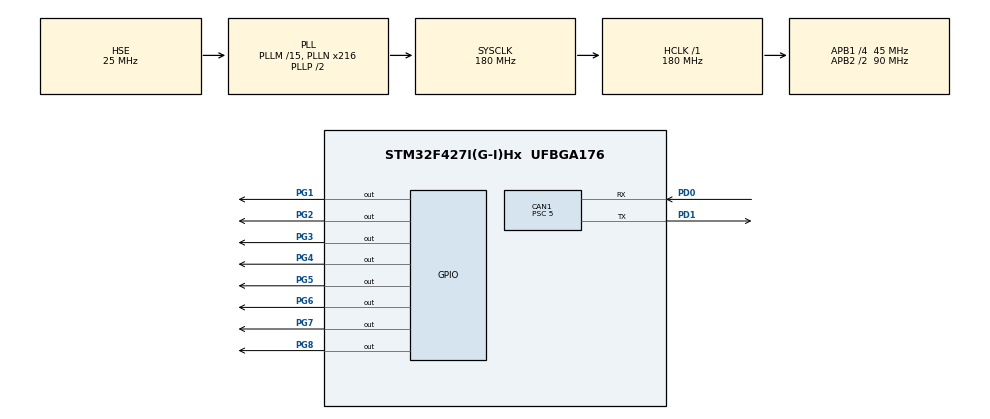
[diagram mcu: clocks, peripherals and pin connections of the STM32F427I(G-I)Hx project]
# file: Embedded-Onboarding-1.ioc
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CAN1.ABOM=ENABLE
CAN1.AWUM=ENABLE
CAN1.BS1=CAN_BS1_6TQ
CAN1.BS2=CAN_BS2_2TQ
CAN1.CalculateBaudRate=1000000
CAN1.CalculateTimeBit=1000
CAN1.CalculateTimeQuantum=111.11111111111111
CAN1.NART=ENABLE
CAN1.Prescaler=5
Mcu.Family=STM32F4
Mcu.Name=STM32F427I(G-I)Hx
Mcu.Package=UFBGA176
NVIC.CAN1_RX0_IRQn=true\:0\:0\:false\:false\:true\:true\:true\:true
NVIC.PriorityGroup=NVIC_PRIORITYGROUP_4
PD0.GPIO_PuPd=GPIO_PULLUP
PD0.Mode=CAN_Activate
PD0.Signal=CAN1_RX
PD1.Mode=CAN_Activate
PD1.Signal=CAN1_TX
PG1.Signal=GPIO_Output
PG2.Signal=GPIO_Output
PG3.Signal=GPIO_Output
PG4.Signal=GPIO_Output
PG5.Signal=GPIO_Output
PG6.Signal=GPIO_Output
PG7.Signal=GPIO_Output
PG8.Signal=GPIO_Output
PH0/OSC_IN.Mode=HSE-External-Oscillator
PH0/OSC_IN.Signal=RCC_OSC_IN
PH1/OSC_OUT.Mode=HSE-External-Oscillator
PH1/OSC_OUT.Signal=RCC_OSC_OUT
ProjectManager.HeapSize=0x200
ProjectManager.StackSize=0x400
ProjectManager.TargetToolchain=CMake
RCC.48MHZClocksFreq_Value=90000000
RCC.AHBFreq_Value=180000000
RCC.APB1CLKDivider=RCC_HCLK_DIV4
RCC.APB1Freq_Value=45000000
RCC.APB1TimFreq_Value=90000000
RCC.APB2CLKDivider=RCC_HCLK_DIV2
RCC.APB2Freq_Value=90000000
RCC.APB2TimFreq_Value=180000000
RCC.CortexFreq_Value=180000000
RCC.EnbaleCSS=true
RCC.HCLKFreq_Value=180000000
RCC.HSE_VALUE=25000000
RCC.HSI_VALUE=16000000
RCC.LSE_VALUE=32768
RCC.PLLM=15
RCC.PLLN=216
RCC.PLLSourceVirtual=RCC_PLLSOURCE_HSE
RCC.SYSCLKFreq_VALUE=180000000
RCC.SYSCLKSource=RCC_SYSCLKSOURCE_PLLCLK
RCC.VCOOutputFreq_Value=360000000
board=custom

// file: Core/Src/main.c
/* USER CODE BEGIN Header */
/**
  ******************************************************************************
  * @file           : main.c
  * @brief          : Main program body
  ******************************************************************************
  * @attention
  *
  * Copyright (c) 2025 STMicroelectronics.
  * All rights reserved.
  *
  * This software is licensed under terms that can be found in the LICENSE file
  * in the root directory of this software component.
  * If no LICENSE file comes with this software, it is provided AS-IS.
  *
  ******************************************************************************
  */
/* USER CODE END Header */
#include "main.h"

/* USER CODE BEGIN Includes */
#include "stdint.h"
/* USER CODE END Includes */

CAN_HandleTypeDef hcan1;

void SystemClock_Config(void);
static void MX_GPIO_Init(void);
static void MX_CAN1_Init(void);

/* USER CODE BEGIN 0 */
void display_byte(uint8_t byte) {
  uint16_t pin_numbers[] = {
    GPIO_PIN_1,
    GPIO_PIN_2,
    GPIO_PIN_3,
    GPIO_PIN_4,
    GPIO_PIN_5,
    GPIO_PIN_6,
    GPIO_PIN_7,
    GPIO_PIN_8
  };

  for (int i = 0; i < 8; i++) {
    if ((byte & (1 << i)) != 0) {
      HAL_GPIO_WritePin(GPIOG, pin_numbers[i], GPIO_PIN_RESET);
    } else {
      HAL_GPIO_WritePin(GPIOG, pin_numbers[i], GPIO_PIN_SET);
    }
  }
}
/* USER CODE END 0 */

int main(void)
{

  /* MCU Configuration--------------------------------------------------------*/

  /* Reset of all peripherals, Initializes the Flash interface and the Systick. */
  HAL_Init();

  /* Configure the system clock */
  SystemClock_Config();

  /* Initialize all configured peripherals */
  MX_GPIO_Init();
  MX_CAN1_Init();
  /* USER CODE BEGIN 2 */
  CAN_FilterTypeDef CAN_FilterConfigStructure;
  CAN_FilterConfigStructure.FilterIdHigh = 0x0000;
  CAN_FilterConfigStructure.FilterIdLow = 0x0000;
  CAN_FilterConfigStructure.FilterMaskIdHigh = 0x0000;
  CAN_FilterConfigStructure.FilterMaskIdLow = 0x0000;
  CAN_FilterConfigStructure.FilterFIFOAssignment = CAN_FILTER_FIFO0;
  CAN_FilterConfigStructure.FilterMode = CAN_FILTERMODE_IDMASK;
  CAN_FilterConfigStructure.FilterScale = CAN_FILTERSCALE_16BIT;
  CAN_FilterConfigStructure.FilterActivation = ENABLE;
  CAN_FilterConfigStructure.FilterBank = 0;

  HAL_CAN_ConfigFilter(&hcan1, &CAN_FilterConfigStructure);

  HAL_CAN_ActivateNotification(&hcan1, CAN_IT_RX_FIFO0_MSG_PENDING);

  HAL_CAN_Start(&hcan1);

  CAN_RxHeaderTypeDef header;
  header.IDE = CAN_ID_STD;
  header.RTR = CAN_RTR_DATA;
  header.DLC = 8;
  header.StdId = 100;

  uint8_t can_data[8] = { 0 };
  can_data[0] = 27;
  /* user code end 2 */

  /* Infinite loop */
  while (1)
  {
    /* USER CODE BEGIN 3 */
    HAL_CAN_AddTxMessage(&hcan1, &header, can_data, NULL);
    HAL_Delay(600);
  }
  /* USER CODE END 3 */
}

void SystemClock_Config(void)
{
  RCC_OscInitTypeDef RCC_OscInitStruct = {0};
  RCC_ClkInitTypeDef RCC_ClkInitStruct = {0};

  /** Configure the main internal regulator output voltage
  */
  __HAL_RCC_PWR_CLK_ENABLE();
  __HAL_PWR_VOLTAGESCALING_CONFIG(PWR_REGULATOR_VOLTAGE_SCALE1);

  /** Initializes the RCC Oscillators according to the specified parameters
  * in the RCC_OscInitTypeDef structure.
  */
  RCC_OscInitStruct.OscillatorType = RCC_OSCILLATORTYPE_HSE;
  RCC_OscInitStruct.HSEState = RCC_HSE_ON;
  RCC_OscInitStruct.PLL.PLLState = RCC_PLL_ON;
  RCC_OscInitStruct.PLL.PLLSource = RCC_PLLSOURCE_HSE;
  RCC_OscInitStruct.PLL.PLLM = 15;
  RCC_OscInitStruct.PLL.PLLN = 216;
  RCC_OscInitStruct.PLL.PLLP = RCC_PLLP_DIV2;
  RCC_OscInitStruct.PLL.PLLQ = 4;
  if (HAL_RCC_OscConfig(&RCC_OscInitStruct) != HAL_OK)
  {
    Error_Handler();
  }

  /** Activate the Over-Drive mode
  */
  if (HAL_PWREx_EnableOverDrive() != HAL_OK)
  {
    Error_Handler();
  }

  /** Initializes the CPU, AHB and APB buses clocks
  */
  RCC_ClkInitStruct.ClockType = RCC_CLOCKTYPE_HCLK|RCC_CLOCKTYPE_SYSCLK
                              |RCC_CLOCKTYPE_PCLK1|RCC_CLOCKTYPE_PCLK2;
  RCC_ClkInitStruct.SYSCLKSource = RCC_SYSCLKSOURCE_PLLCLK;
  RCC_ClkInitStruct.AHBCLKDivider = RCC_SYSCLK_DIV1;
  RCC_ClkInitStruct.APB1CLKDivider = RCC_HCLK_DIV4;
  RCC_ClkInitStruct.APB2CLKDivider = RCC_HCLK_DIV2;

  if (HAL_RCC_ClockConfig(&RCC_ClkInitStruct, FLASH_LATENCY_5) != HAL_OK)
  {
    Error_Handler();
  }

  /** Enables the Clock Security System
  */
  HAL_RCC_EnableCSS();
}

static void MX_CAN1_Init(void)
{

  hcan1.Instance = CAN1;
  hcan1.Init.Prescaler = 5;
  hcan1.Init.Mode = CAN_MODE_NORMAL;
  hcan1.Init.SyncJumpWidth = CAN_SJW_1TQ;
  hcan1.Init.TimeSeg1 = CAN_BS1_6TQ;
  hcan1.Init.TimeSeg2 = CAN_BS2_2TQ;
  hcan1.Init.TimeTriggeredMode = DISABLE;
  hcan1.Init.AutoBusOff = ENABLE;
  hcan1.Init.AutoWakeUp = ENABLE;
  hcan1.Init.AutoRetransmission = ENABLE;
  hcan1.Init.ReceiveFifoLocked = DISABLE;
  hcan1.Init.TransmitFifoPriority = DISABLE;
  if (HAL_CAN_Init(&hcan1) != HAL_OK)
  {
    Error_Handler();
  }

}

static void MX_GPIO_Init(void)
{
  GPIO_InitTypeDef GPIO_InitStruct = {0};

  /* GPIO Ports Clock Enable */
  __HAL_RCC_GPIOD_CLK_ENABLE();
  __HAL_RCC_GPIOH_CLK_ENABLE();
  __HAL_RCC_GPIOG_CLK_ENABLE();

  /*Configure GPIO pin Output Level */
  HAL_GPIO_WritePin(GPIOG, GPIO_PIN_8|GPIO_PIN_7|GPIO_PIN_6|GPIO_PIN_5
                          |GPIO_PIN_4|GPIO_PIN_3|GPIO_PIN_2|GPIO_PIN_1, GPIO_PIN_RESET);

  /*Configure GPIO pins : PG8 PG7 PG6 PG5
                           PG4 PG3 PG2 PG1 */
  GPIO_InitStruct.Pin = GPIO_PIN_8|GPIO_PIN_7|GPIO_PIN_6|GPIO_PIN_5
                          |GPIO_PIN_4|GPIO_PIN_3|GPIO_PIN_2|GPIO_PIN_1;
  GPIO_InitStruct.Mode = GPIO_MODE_OUTPUT_PP;
  GPIO_InitStruct.Pull = GPIO_NOPULL;
  GPIO_InitStruct.Speed = GPIO_SPEED_FREQ_LOW;
  HAL_GPIO_Init(GPIOG, &GPIO_InitStruct);

}

/* USER CODE BEGIN 4 */
void HAL_CAN_RxFifo0MsgPendingCallback (CAN_HandleTypeDef * hcan) {
  if (hcan == &hcan1) {
    CAN_RxHeaderTypeDef header;
    uint8_t data[8];
    HAL_CAN_GetRxMessage(hcan, CAN_RX_FIFO0, &header, data);
    display_byte(data[0]);
  } else {
  }
}
/* USER CODE END 4 */

void Error_Handler(void)
{
  __disable_irq();
  while (1)
  {
  }
}
